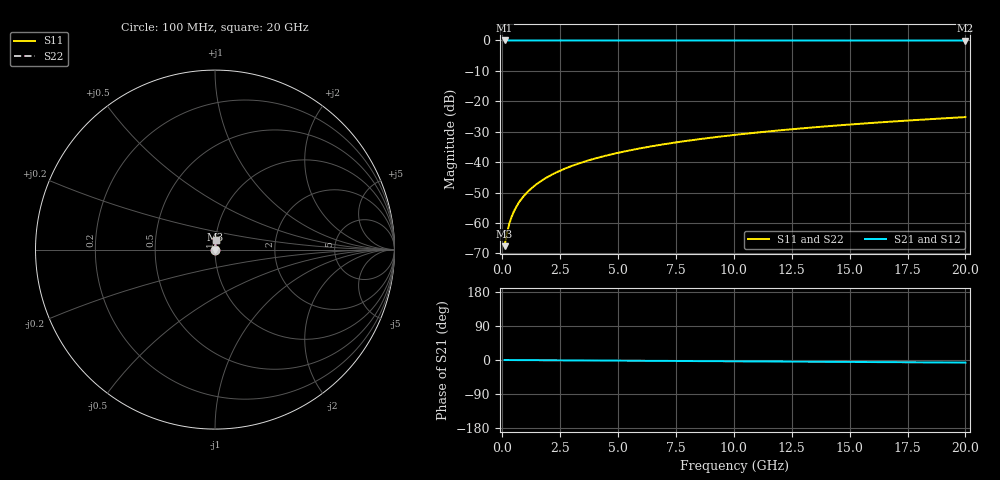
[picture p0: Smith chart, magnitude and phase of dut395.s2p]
! Touchstone file exported from HFSS 2026.1.0
!  File:  C:/ffzhzh/LocalFiles/Ansys_Project_Files/temp_train_TSV_395_1783020170_4048.aedt
!  Generated:  03:24:29 AM Jul  3, 2026
!  Design:  TSV
!  Project:  temp_train_TSV_395_1783020170_4048
! Variables:
!  h_bsmrdl = 2um
!  h_ox = 20um
!  h_rdl = 5um
!  h_sub = 55.65um
!  h_tmrdl = 5um
!  h_tsv = 55.65um
!  h_via = 3um
!  l_bsmrdl = 300um
!  l_sub = 410.26um
!  l_tmrdl = 200um
!  m_sub = 200um
!  pitch = 41.6um
!  r_tsv = 5.13um
!  s_tmrdl = 10um
!  w_bsmrdl = 18um
!  w_sub = 500um
!  w_tmrdl = 12um
!  x_tsv_center1 = 206um
!  x_tsv_center2 = 524um
!  x_tsv_center3 = 736um
!  x_tsv_center4 = 1054um
!  x_tsv_center5 = 1266um
!  x_tsv_center6 = 1584um
# GHz S MA R 50.000000
! Terminal data exported
! Port[1] = TSV1_1_T1
! Port[2] = TSV1_1_T2
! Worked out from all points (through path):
!   200 points, 100 MHz to 20 GHz, reference 50 ohm
!   highest |S21| = 0.00 dB at 100 MHz (marker M1); lowest = 0.0 dB at 20 GHz (marker M2)
!   lowest |S11| = -67.6 dB at 100 MHz (marker M3), VSWR 1.00, Z = 50 + j0.0309 ohm
!   |S11| at or under -10 dB: start of sweep to end of sweep
!   |S22| runs from -67.6 to -25.2 dB; largest |S21 - S12| = 2.3e-15
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0.1  0.0004149 48.1  0.9997 -0.0  0.9997 -0.0  0.0004149 48.1
! Gamma 0 0 0 0
! Port Impedance 50 0 50 0
0.2  0.0006784 65.0  0.9997 -0.1  0.9997 -0.1  0.0006784 65.0
0.3  0.000964 71.8  0.9997 -0.1  0.9997 -0.1  0.000964 71.8
0.4  0.001253 75.3  0.9997 -0.1  0.9997 -0.1  0.001253 75.3
0.5  0.001541 77.5  0.9997 -0.2  0.9997 -0.2  0.001541 77.5
0.7  0.002114 80.1  0.9996 -0.2  0.9996 -0.2  0.002114 80.1
0.8  0.0024 81.0  0.9996 -0.3  0.9996 -0.3  0.0024 81.0
1  0.00297 82.2  0.9996 -0.4  0.9996 -0.4  0.00297 82.2
1.2  0.00354 83.1  0.9996 -0.4  0.9996 -0.4  0.00354 83.1
1.4  0.00411 83.7  0.9996 -0.5  0.9996 -0.5  0.00411 83.7
1.7  0.004965 84.3  0.9995 -0.6  0.9995 -0.6  0.004965 84.3
2  0.005818 84.7  0.9995 -0.7  0.9995 -0.7  0.005818 84.7
2.7  0.0078 85.1  0.9994 -0.9  0.9994 -0.9  0.0078 85.1
3.5  0.01005 85.3  0.9993 -1.2  0.9993 -1.2  0.01005 85.3
4.2  0.012 85.3  0.9992 -1.5  0.9992 -1.5  0.012 85.3
5  0.01422 85.2  0.9991 -1.7  0.9991 -1.7  0.01422 85.2
6.8  0.01917 85.0  0.9989 -2.3  0.9989 -2.3  0.01917 85.0
8.3  0.02327 84.7  0.9987 -2.8  0.9987 -2.8  0.02327 84.7
10.1  0.02818 84.3  0.9985 -3.5  0.9985 -3.5  0.02818 84.3
13.4  0.03714 83.5  0.9981 -4.6  0.9981 -4.6  0.03714 83.5
16.7  0.04607 82.6  0.9975 -5.7  0.9975 -5.7  0.04607 82.6
20  0.05494 81.6  0.9969 -6.8  0.9969 -6.8  0.05494 81.6
